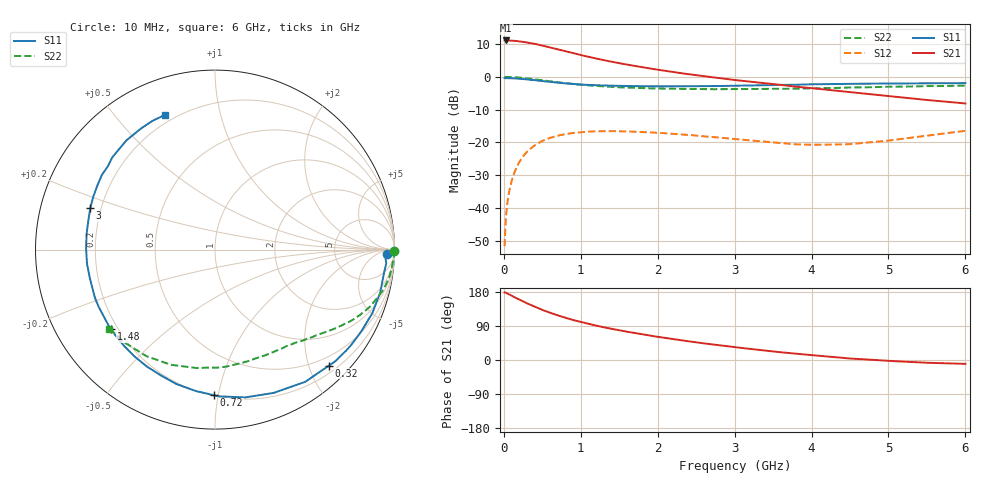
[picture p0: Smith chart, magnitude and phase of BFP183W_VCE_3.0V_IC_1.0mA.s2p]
! Infineon Technologies  Discrete & RF Semiconductors
! BFP183W
! VCE = 3.0 V,  IC =  1.0 mA
! Common Emitter S-Parameters:  Jan 2016
# GHz  S  MA  R  50
!  f  S11  S21  S12  S22
! GHz  MAG  ANG  MAG  ANG  MAG  ANG  MAG  ANG
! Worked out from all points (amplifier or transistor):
!   210 points, 10 MHz to 6 GHz, reference 50 ohm
!   highest |S21| = 11.1 dB at 30 MHz (marker M1)
!   |S21| within 3 dB of that: start of sweep to 753.2 MHz
!   unconditionally stable (mu >= 1): 2.701 GHz to end of sweep
!   at 185 MHz: K = 0.07, MSG = 18.8 dB, |S12| = -26.7 dB
!   at 1.52 GHz: K = 0.54, MSG = 10.4 dB, |S12| = -16.6 dB
!   at 6 GHz: K = 1.14, MAG = 1.9 dB, |S12| = -16.5 dB
!   S11 on the Smith chart (normalised r, x): 10 MHz: 33, -22; 320 MHz: 0.32, -2.35; 720 MHz: 0.20, -0.97; 1.48 GHz: 0.17, -0.33; 3 GHz: 0.16, +0.16; 6 GHz: 0.16, +0.69
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0.01  0.959 -1.6  3.563 178.3  0.0026 93.3  1 -0.6
0.02  0.9512 -2.9  3.572 178.1  0.0051 87.3  0.9915 -1.1
0.03  0.9572 -4.6  3.589 177.1  0.0079 88.6  0.9979 -1.7
0.065  0.9495 -9.5  3.576 173.5  0.0166 83.9  0.9941 -3.6
0.125  0.9462 -18.2  3.546 167.2  0.0315 78.3  0.9874 -6.9
0.2  0.9341 -29.1  3.484 159.3  0.0497 72.7  0.9748 -10.9
0.32  0.9061 -45.5  3.306 147.9  0.075 62.3  0.9417 -16.8
0.4  0.8918 -55.7  3.19 140.8  0.0898 56.3  0.9188 -20.4
0.5  0.8628 -67.7  3.001 132.2  0.1051 49.8  0.8869 -24.2
0.6  0.8405 -78.5  2.818 124.7  0.117 43.4  0.8546 -27.8
0.72  0.8115 -90.3  2.605 116.5  0.1278 37.3  0.8208 -31.1
0.9  0.7793 -106.0  2.308 105.5  0.139 29.2  0.7766 -35.8
1.02  0.76 -114.8  2.121 99.4  0.1431 24.5  0.7532 -38.5
1.2  0.7453 -127.0  1.901 90.7  0.1474 18.4  0.7265 -42.3
1.48  0.7297 -142.7  1.631 79.3  0.1475 11.3  0.6937 -47.6
2.02  0.7151 -166.9  1.275 60.6  0.1394 2.4  0.6622 -57.2
2.4  0.7182 179.5  1.096 49.3  0.13 -1.7  0.6523 -64.6
3  0.7324 161.6  0.894 33.7  0.1123 -2.9  0.6489 -76.2
3.1  0.7352 159.0  0.869 31.6  0.1097 -2.3  0.6492 -78.3
4.1  0.7705 136.3  0.653 11.1  0.0919 12.4  0.669 -101.1
5.1  0.7916 120.2  0.494 -3.4  0.1101 31.6  0.707 -125.0
6  0.8009 110.2  0.392 -10.2  0.1497 37.3  0.7348 -143.2
